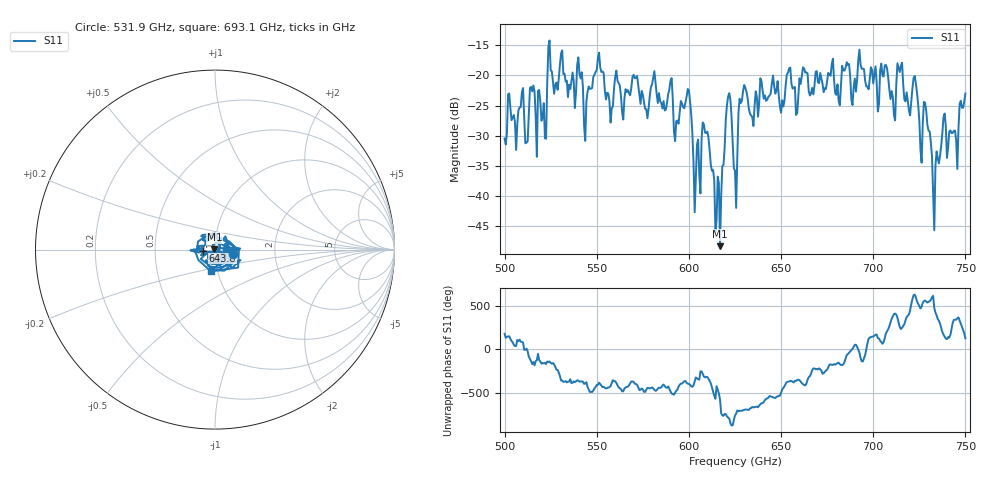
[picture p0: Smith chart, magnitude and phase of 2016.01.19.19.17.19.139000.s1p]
!Created with skrf (http://scikit-rf.org).
# GHz S RI R 50.0
!freq ReS11 ImS11
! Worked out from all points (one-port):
!   401 points, 500 GHz to 750 GHz, reference 50 ohm
!   lowest |S11| = -48.3 dB at 616.9 GHz (marker M1), VSWR 1.01, Z = 49.7 + j0.229 ohm
!   |S11| at or under -10 dB: start of sweep to end of sweep
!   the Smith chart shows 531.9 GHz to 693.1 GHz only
!   S11 on the Smith chart (normalised r, x): 531.9 GHz: 1.22, -0.06; 643.8 GHz: 0.87, -0.01; 693.1 GHz: 0.93, -0.23
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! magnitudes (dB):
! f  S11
! 500 GHz  -30.5
! 508.8 GHz  -25.3
! 511.9 GHz  -31.1
! 515 GHz  -22.7
! 521.2 GHz  -24.6
! 524.4 GHz  -14.2
! 531.2 GHz  -15.9
! 531.9 GHz  -19.8
! 543.8 GHz  -30.8
! 550.6 GHz  -17.1
! 562.5 GHz  -21.7
! 590 GHz  -20.9
! 593.8 GHz  -27.5
! 599.4 GHz  -22.2
! 603.1 GHz  -42.7
! 608.8 GHz  -29.5
! 616.9 GHz  -48.3
! 621.2 GHz  -23.6
! 625 GHz  -35.7
! 628.8 GHz  -24.2
! 643.8 GHz  -23.4
! 656.2 GHz  -22.2
! 687.5 GHz  -20.1
! 693.1 GHz  -18.2
! 718.8 GHz  -24.2
! 728.8 GHz  -25.9
! 733.8 GHz  -35.0
! 750 GHz  -23.0
